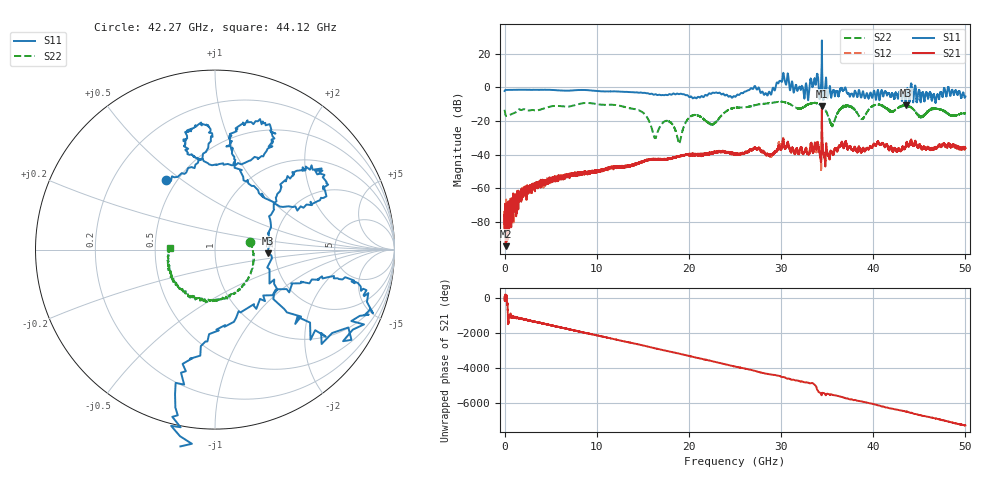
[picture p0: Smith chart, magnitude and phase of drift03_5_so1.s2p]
!Created with skrf (http://scikit-rf.org).
# Hz S RI R 50.0
!freq ReS11 ImS11 ReS21 ImS21 ReS12 ImS12 ReS22 ImS22
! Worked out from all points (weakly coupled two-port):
!   10000 points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, 5.3 MHz to 50 GHz, reference 50 ohm
!   highest |S21| = -11.21 dB at 34.43 GHz (marker M1); lowest = -94.7 dB at 135.3 MHz (marker M2)
!   lowest |S11| = -10.6 dB at 43.54 GHz (marker M3), VSWR 1.84, Z = 91.7 - j4.1 ohm
!   |S11| at or under -10 dB: 43.5084 GHz to 43.54087 GHz (32.48 MHz wide, 0.0746 % of centre); 43.54683 GHz to 43.55286 GHz (6.036 MHz wide, 0.0139 % of centre)
!   |S22| runs from -33.4 to -8.5 dB; largest |S21 - S12| = 0.085
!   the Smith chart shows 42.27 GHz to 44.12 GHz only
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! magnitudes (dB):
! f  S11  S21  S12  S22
! 5.3 MHz  -2.1  -76.5  -75.4  -13.3
! 135.3 MHz  -1.4  -94.7  -72.1  -16.8
! 2.665 GHz  -1.4  -59.9  -59.9  -13.7
! 8.34 GHz  -1.5  -51.3  -52.2  -9.5
! 14.51 GHz  -3.1  -45.3  -45.1  -13.4
! 16.67 GHz  -4.4  -42.8  -42.6  -25.7
! 17.82 GHz  -4.1  -42.5  -42.5  -20.2
! 18.96 GHz  -4.0  -41.1  -41.0  -33.3
! 20.26 GHz  -5.3  -40.2  -40.1  -17.0
! 22.58 GHz  -3.1  -39.0  -39.2  -21.9
! 25.01 GHz  -5.5  -39.7  -39.6  -12.2
! 28.72 GHz  -2.5  -40.3  -40.5  -9.4
! 30.14 GHz  4.3  -33.8  -34.0  -8.6
! 32.74 GHz  2.0  -36.8  -36.3  -10.5
! 33.34 GHz  2.5  -34.8  -35.2  -9.4
! 34.43 GHz  28.1  -11.2  -13.2  -11.0
! 35.54 GHz  -3.2  -38.9  -39.0  -23.2
! 36.95 GHz  0.0  -33.1  -33.2  -11.0
! 38.75 GHz  -5.4  -38.5  -38.3  -18.9
! 41.67 GHz  -3.4  -37.3  -37.0  -13.3
! 43.54 GHz  -10.6  -35.2  -35.0  -10.5
! 50 GHz  -5.4  -36.1  -36.8  -15.4
